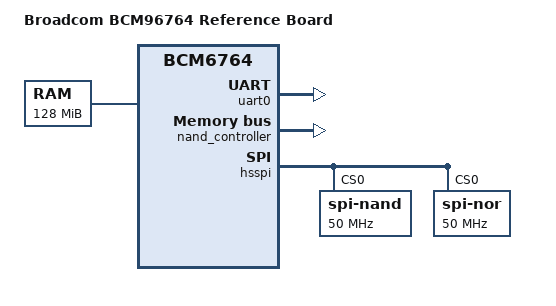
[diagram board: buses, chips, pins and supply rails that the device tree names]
// SPDX-License-Identifier: GPL-2.0+
/*
 * Copyright 2021 Broadcom Ltd.
 */


/dts-v1/;

#include "bcm6764.dtsi"

/ {
	model = "Broadcom BCM96764 Reference Board";
	compatible = "brcm,bcm96764", "brcm,bcm6764", "brcm,bcmbca";


	aliases {
		serial0 = &uart0;
		spi1 = &hsspi;
	};

	chosen {
		stdout-path = "serial0:115200n8";
	};

	memory {
		device_type = "memory";
#if defined(CONFIG_ARMV7_LPAE)
		reg = <0x0 0x0 0x0 0x08000000>;
#else
		reg = <0x0 0x08000000>;
#endif
	};

};

&uart0 {
	status = "okay";
};

&nand_controller {
	brcm,wp-not-connected;
	status = "okay";
};

&nandcs {
	nand-on-flash-bbt;
	brcm,nand-ecc-use-strap;
};

&hsspi {
	status = "okay";
	spi-nand {
		compatible = "spi-nand";
		reg = <0>;
		pinctrl-0 = <&spim_ss0_b_pin_43>;
		pinctrl-names = "default";
		#address-cells = <1>;
		#size-cells = <0>;
		bootph-all;
		spi-max-frequency = <50000000>;
	};
	spi-nor@0 {
		pinctrl-0 = <&spim_ss0_b_pin_43>;
		pinctrl-names = "default";
		compatible = "jedec,spi-nor";
		reg = <0>;
		#address-cells = <1>;
		#size-cells = <0>;
		spi-max-frequency = <50000000>;
		bootph-all;
	};
};
